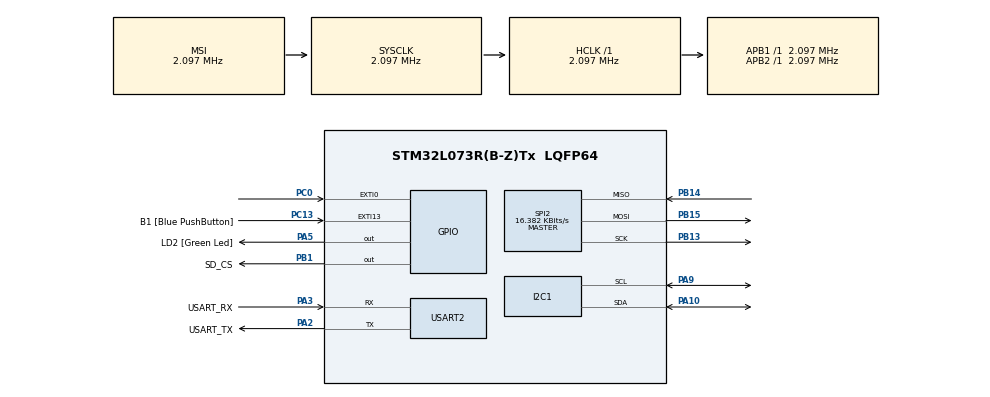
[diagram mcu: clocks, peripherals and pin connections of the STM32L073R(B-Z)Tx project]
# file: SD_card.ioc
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I2C1.Timing=0x00000608
Mcu.Family=STM32L0
Mcu.Name=STM32L073R(B-Z)Tx
Mcu.Package=LQFP64
NVIC.EXTI0_1_IRQn=true\:0\:0\:false\:false\:true\:true\:true\:true
NVIC.TIM6_DAC_IRQn=true\:3\:0\:false\:false\:true\:false\:true\:true
NVIC.TimeBase=TIM6_DAC_IRQn
NVIC.TimeBaseIP=TIM6
PA10.Mode=I2C
PA10.Signal=I2C1_SDA
PA13.GPIO_Label=TMS
PA13.Mode=Serial_Wire
PA13.Signal=SYS_SWDIO
PA14.GPIO_Label=TCK
PA14.Mode=Serial_Wire
PA14.Signal=SYS_SWCLK
PA2.GPIO_Label=USART_TX
PA2.Mode=Asynchronous
PA2.Signal=USART2_TX
PA3.GPIO_Label=USART_RX
PA3.Mode=Asynchronous
PA3.Signal=USART2_RX
PA5.GPIO_Label=LD2 [Green Led]
PA5.Signal=GPIO_Output
PA9.Mode=I2C
PA9.Signal=I2C1_SCL
PB1.GPIO_Label=SD_CS
PB1.Signal=GPIO_Output
PB13.Mode=Full_Duplex_Master
PB13.Signal=SPI2_SCK
PB14.Mode=Full_Duplex_Master
PB14.Signal=SPI2_MISO
PB15.Mode=Full_Duplex_Master
PB15.Signal=SPI2_MOSI
PC0.Signal=GPXTI0
PC13.GPIO_Label=B1 [Blue PushButton]
PC13.GPIO_ModeDefaultEXTI=GPIO_MODE_IT_FALLING
PC13.Signal=GPXTI13
PC14-OSC32_IN.Mode=LSE-External-Oscillator
PC14-OSC32_IN.Signal=RCC_OSC32_IN
PC15-OSC32_OUT.Mode=LSE-External-Oscillator
PC15-OSC32_OUT.Signal=RCC_OSC32_OUT
PH0-OSC_IN.GPIO_Label=MCO
PH0-OSC_IN.Mode=HSE-External-Clock-Source
PH0-OSC_IN.Signal=RCC_OSC_IN
ProjectManager.HeapSize=0x200
ProjectManager.StackSize=0x400
ProjectManager.TargetToolchain=STM32CubeIDE
RCC.AHBFreq_Value=2097000
RCC.APB1Freq_Value=2097000
RCC.APB1TimFreq_Value=2097000
RCC.APB2Freq_Value=2097000
RCC.APB2TimFreq_Value=2097000
RCC.HSE_VALUE=8000000
RCC.HSI16_VALUE=16000000
RCC.HSI48_VALUE=48000000
RCC.HSI_VALUE=16000000
RCC.MSI_VALUE=2097000
RCC.SYSCLKFreq_VALUE=2097000
RCC.VCOOutputFreq_Value=48000000
SPI2.BaudRatePrescaler=SPI_BAUDRATEPRESCALER_128
SPI2.CalculateBaudRate=16.382 KBits/s
SPI2.Direction=SPI_DIRECTION_2LINES
SPI2.Mode=SPI_MODE_MASTER
SPI2.VirtualType=VM_MASTER
USART2.VirtualMode-Asynchronous=VM_ASYNC
VP_FATFS_VS_Generic.Mode=User_defined
VP_SYS_VS_tim6.Mode=TIM6
board=NUCLEO-L073RZ

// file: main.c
/* USER CODE BEGIN Header */
/**
  ******************************************************************************
  * @file           : main.c
  * @brief          : Main program body
  ******************************************************************************
  * @attention
  *
  * Copyright (c) 2024 STMicroelectronics.
  * All rights reserved.
  *
  * This software is licensed under terms that can be found in the LICENSE file
  * in the root directory of this software component.
  * If no LICENSE file comes with this software, it is provided AS-IS.
  *
  ******************************************************************************
  */
/* USER CODE END Header */
#include "main.h"
#include "fatfs.h"

/* USER CODE BEGIN Includes */
#include <stdio.h>
#include <string.h>
#include <stdarg.h> //for va_list var arg functions
#include "max30102_for_stm32_hal.h"
#include "max_processing.h"
/* USER CODE END Includes */

I2C_HandleTypeDef hi2c1;

SPI_HandleTypeDef hspi2;

UART_HandleTypeDef huart2;

/* USER CODE BEGIN PV */

// printf() function
int __io_putchar(int ch)
{
  uint8_t temp = ch;
  HAL_UART_Transmit(&huart2, &temp, 1, HAL_MAX_DELAY);
  return ch;
}

// MAX30102 object
max30102_t max30102;

/* USER CODE END PV */

void SystemClock_Config(void);
static void MX_GPIO_Init(void);
static void MX_USART2_UART_Init(void);
static void MX_SPI2_Init(void);
static void MX_I2C1_Init(void);
/* USER CODE BEGIN PFP */
void myprintf(const char *fmt, ...);
/* USER CODE END PFP */

/* USER CODE BEGIN 0 */
void myprintf(const char *fmt, ...) {
  static char buffer[256];
  va_list args;
  va_start(args, fmt);
  vsnprintf(buffer, sizeof(buffer), fmt, args);
  va_end(args);

  int len = strlen(buffer);
  HAL_UART_Transmit(&huart2, (uint8_t*)buffer, len, -1);

}
/* USER CODE END 0 */

int main(void)
{

  /* MCU Configuration--------------------------------------------------------*/

  /* Reset of all peripherals, Initializes the Flash interface and the Systick. */
  HAL_Init();

  /* Configure the system clock */
  SystemClock_Config();

  /* Initialize all configured peripherals */
  MX_GPIO_Init();
  MX_USART2_UART_Init();
  MX_SPI2_Init();
  MX_FATFS_Init();
  MX_I2C1_Init();
  /* USER CODE BEGIN 2 */
  FATFS FatFs; 	//Fatfs handle
  FIL fil; 		//File handle
  FRESULT fres; //Result after operations

  HAL_Delay(1000);

	//Open the file system
  	f_mount(NULL, "", 0);
  	HAL_Delay(10000);
	fres = f_mount(&FatFs, "", 1); //1=mount now
	if (fres != FR_OK) {
	myprintf("f_mount error (%i)\r\n", fres);
	while(1);
	}

    //Let's get some statistics from the SD card
    DWORD free_clusters, free_sectors, total_sectors;

    FATFS* getFreeFs;

    fres = f_getfree("", &free_clusters, &getFreeFs);
    if (fres != FR_OK) {
  	myprintf("f_getfree error (%i)\r\n", fres);
  	while(1);
    }

    //Formula comes from ChaN's documentation
    total_sectors = (getFreeFs->n_fatent - 2) * getFreeFs->csize;
    free_sectors = free_clusters * getFreeFs->csize;

    myprintf("SD card stats:\r\n%10lu KiB total drive space.\r\n%10lu KiB available.\r\n", total_sectors / 2, free_sectors / 2);

    //Now let's try to open file "test.txt"
    fres = f_open(&fil, "test.txt", FA_READ);
    if (fres != FR_OK) {
  	myprintf("f_open error (%i)\r\n");
  	while(1);
    }
    myprintf("I was able to open 'hello.txt' for reading!\r\n");

    //Read 30 bytes from "test.txt" on the SD card
    BYTE readBuf[30];

    //We can either use f_read OR f_gets to get data out of files
    //f_gets is a wrapper on f_read that does some string formatting for us
    TCHAR* rres = f_gets((TCHAR*)readBuf, 30, &fil);
    if(rres != 0) {
  	myprintf("Read string from 'test.txt' contents: %s\r\n", readBuf);
    } else {
  	myprintf("f_gets error (%i)\r\n", fres);
    }

    //Be a tidy kiwi - don't forget to close your file!
    f_close(&fil);

    //Now let's try and write a file "write.txt"
    fres = f_open(&fil, "write.txt", FA_WRITE | FA_OPEN_ALWAYS | FA_CREATE_ALWAYS);
    if(fres == FR_OK) {
  	myprintf("I was able to open 'write.txt' for writing\r\n");
    } else {
  	myprintf("f_open error (%i)\r\n", fres);
    }

    //Copy in a string
    strncpy((char*)readBuf, "a new file is made!", 19);
    UINT bytesWrote;
    fres = f_write(&fil, readBuf, 19, &bytesWrote);
    if(fres == FR_OK) {
  	myprintf("Wrote %i bytes to 'write.txt'!\r\n", bytesWrote);
    } else {
  	myprintf("f_write error (%i)\r\n");
    }

    //Be a tidy kiwi - don't forget to close your file!
    f_close(&fil);

    // Initiation Sensor
    	max30102_init(&max30102, &hi2c1);
    	max30102_reset(&max30102);
    	max30102_clear_fifo(&max30102);
    	max30102_set_fifo_config(&max30102, max30102_smp_ave_8, 1, 7);

    	// Sensor settings
    	max30102_set_led_pulse_width(&max30102, max30102_pw_16_bit);
    	max30102_set_adc_resolution(&max30102, max30102_adc_2048);
    	max30102_set_sampling_rate(&max30102, max30102_sr_800);
    	max30102_set_led_current_1(&max30102, 6.2);
    	max30102_set_led_current_2(&max30102, 6.2);

    	// Enter SpO2 mode
    	max30102_set_mode(&max30102, max30102_spo2);
    	max30102_set_a_full(&max30102, 1);

    	// Initiate 1 temperature measurement
    	max30102_set_die_temp_en(&max30102, 1);
    	max30102_set_die_temp_rdy(&max30102, 1);

    	uint8_t en_reg[2] = {0};
    	max30102_read(&max30102, 0x00, en_reg, 1);
    	initialize_filters_1();
    	initialize_filters_2();
	// Initiation Sensor End

  /* USER CODE END 2 */

  /* Infinite loop */
  while (1)
  {

    /* USER CODE BEGIN 3 */
	  Max30102Samples samples = max30102_read_fifo(&max30102);
	  uint32_t latest_red_value = samples.red_sample;
	  uint32_t latest_ir_value = samples.ir_sample;
	  char buffer1[100];
	  int len = sprintf(buffer1, "IR Sample: %d, Red Sample: %d\r\n", latest_red_value, latest_ir_value);
	  HAL_UART_Transmit(&huart2, (uint8_t *)buffer1, len, HAL_MAX_DELAY);

	 // Part 1: Measure Heart Rate, Write and Read
//		int heart_rate = calculate_heart_rate(latest_red_value);
//		if (heart_rate != -1) {
//		  fres = f_open(&fil, "test.txt", FA_WRITE | FA_OPEN_APPEND);
//		  if (fres == FR_OK) {
//			len = sprintf(buffer1, "Heart Rate (bpm): %d\r\n", heart_rate);
//			f_write(&fil, buffer1, len, &bytesWrote);
//			f_close(&fil);
//		  }
//		  fres = f_open(&fil, "test.txt", FA_READ);
//		  if (fres == FR_OK) {
//			TCHAR readBuf[30];
//			f_gets(readBuf, 30, &fil);
//			myprintf("Read Heart Rate: %s\r\n", readBuf);
//			f_close(&fil);
//		  }
//		}

	 // Part 2: Measure Advanced Heartbeat Detection, Write and Read
//	  int adv_heart_rate = advanced_heartbeat_detection(latest_red_value);
//	  if (adv_heart_rate != -1) {
//		fres = f_open(&fil, "test.txt", FA_WRITE | FA_OPEN_APPEND);
//		if (fres == FR_OK) {
//		  len = sprintf(buffer1, "Advanced Heart Rate (avg, bpm): %d\r\n", adv_heart_rate);
//		  f_write(&fil, buffer1, len, &bytesWrote);
//		  f_close(&fil);
//		}
//		fres = f_open(&fil, "test.txt", FA_READ);
//		if (fres == FR_OK) {
//		  TCHAR readBuf[30];
//		  f_gets(readBuf, 30, &fil);
//		  myprintf("Read Advanced Heart Rate: %s\r\n", readBuf);
//		  f_close(&fil);
//		}
//	  }

	  // Part 3: Measure SPO2, Write and Read
//	    float spo2 = calculate_spo2(latest_red_value, latest_ir_value);
//	    if (spo2 != -1) {
//	      fres = f_open(&fil, "test.txt", FA_WRITE | FA_OPEN_APPEND);
//	      if (fres == FR_OK) {
//	        len = sprintf(buffer1, "SpO2 (avg, %%): %.2f\r\n", spo2);
//	        f_write(&fil, buffer1, len, &bytesWrote);
//	        f_close(&fil);
//	      }
//	      fres = f_open(&fil, "test.txt", FA_READ);
//	      if (fres == FR_OK) {
//	        TCHAR readBuf[30];
//	        f_gets(readBuf, 30, &fil);
//	        myprintf("Read SPO2: %s\r\n", readBuf);
//	        f_close(&fil);
//	      }
//	    }

	// Part 4: Temperature Interrupt, Write and Read
//	if (max30102_has_interrupt(&max30102)) {
//		float temperature = max30102_interrupt_handler(&max30102);
//		if (temperature != -1) {
//		  fres = f_open(&fil, "test.txt", FA_WRITE | FA_OPEN_APPEND);
//		  if (fres == FR_OK) {
//			len = sprintf(buffer1, "Temperature: %.2f °C\r\n", temperature);
//			f_write(&fil, buffer1, len, &bytesWrote);
//			f_close(&fil);
//		  }
//		  fres = f_open(&fil, "test.txt", FA_READ);
//		  if (fres == FR_OK) {
//			TCHAR readBuf[30];
//			f_gets(readBuf, 30, &fil);
//			myprintf("Read Temperature: %s\r\n", readBuf);
//			f_close(&fil);
//		  }
//		}

  }
  //We're done, so de-mount the drive
  f_mount(NULL, "", 0);
  /* USER CODE END 3 */
}

void SystemClock_Config(void)
{
  RCC_OscInitTypeDef RCC_OscInitStruct = {0};
  RCC_ClkInitTypeDef RCC_ClkInitStruct = {0};
  RCC_PeriphCLKInitTypeDef PeriphClkInit = {0};

  /** Configure the main internal regulator output voltage
  */
  __HAL_PWR_VOLTAGESCALING_CONFIG(PWR_REGULATOR_VOLTAGE_SCALE1);

  /** Initializes the RCC Oscillators according to the specified parameters
  * in the RCC_OscInitTypeDef structure.
  */
  RCC_OscInitStruct.OscillatorType = RCC_OSCILLATORTYPE_MSI;
  RCC_OscInitStruct.MSIState = RCC_MSI_ON;
  RCC_OscInitStruct.MSICalibrationValue = 0;
  RCC_OscInitStruct.MSIClockRange = RCC_MSIRANGE_5;
  RCC_OscInitStruct.PLL.PLLState = RCC_PLL_NONE;
  if (HAL_RCC_OscConfig(&RCC_OscInitStruct) != HAL_OK)
  {
    Error_Handler();
  }

  /** Initializes the CPU, AHB and APB buses clocks
  */
  RCC_ClkInitStruct.ClockType = RCC_CLOCKTYPE_HCLK|RCC_CLOCKTYPE_SYSCLK
                              |RCC_CLOCKTYPE_PCLK1|RCC_CLOCKTYPE_PCLK2;
  RCC_ClkInitStruct.SYSCLKSource = RCC_SYSCLKSOURCE_MSI;
  RCC_ClkInitStruct.AHBCLKDivider = RCC_SYSCLK_DIV1;
  RCC_ClkInitStruct.APB1CLKDivider = RCC_HCLK_DIV1;
  RCC_ClkInitStruct.APB2CLKDivider = RCC_HCLK_DIV1;

  if (HAL_RCC_ClockConfig(&RCC_ClkInitStruct, FLASH_LATENCY_0) != HAL_OK)
  {
    Error_Handler();
  }
  PeriphClkInit.PeriphClockSelection = RCC_PERIPHCLK_USART2|RCC_PERIPHCLK_I2C1;
  PeriphClkInit.Usart2ClockSelection = RCC_USART2CLKSOURCE_PCLK1;
  PeriphClkInit.I2c1ClockSelection = RCC_I2C1CLKSOURCE_PCLK1;
  if (HAL_RCCEx_PeriphCLKConfig(&PeriphClkInit) != HAL_OK)
  {
    Error_Handler();
  }
}

static void MX_I2C1_Init(void)
{

  hi2c1.Instance = I2C1;
  hi2c1.Init.Timing = 0x00000608;
  hi2c1.Init.OwnAddress1 = 0;
  hi2c1.Init.AddressingMode = I2C_ADDRESSINGMODE_7BIT;
  hi2c1.Init.DualAddressMode = I2C_DUALADDRESS_DISABLE;
  hi2c1.Init.OwnAddress2 = 0;
  hi2c1.Init.OwnAddress2Masks = I2C_OA2_NOMASK;
  hi2c1.Init.GeneralCallMode = I2C_GENERALCALL_DISABLE;
  hi2c1.Init.NoStretchMode = I2C_NOSTRETCH_DISABLE;
  if (HAL_I2C_Init(&hi2c1) != HAL_OK)
  {
    Error_Handler();
  }

  /** Configure Analogue filter
  */
  if (HAL_I2CEx_ConfigAnalogFilter(&hi2c1, I2C_ANALOGFILTER_ENABLE) != HAL_OK)
  {
    Error_Handler();
  }

  /** Configure Digital filter
  */
  if (HAL_I2CEx_ConfigDigitalFilter(&hi2c1, 0) != HAL_OK)
  {
    Error_Handler();
  }

}

static void MX_SPI2_Init(void)
{

  /* SPI2 parameter configuration*/
  hspi2.Instance = SPI2;
  hspi2.Init.Mode = SPI_MODE_MASTER;
  hspi2.Init.Direction = SPI_DIRECTION_2LINES;
  hspi2.Init.DataSize = SPI_DATASIZE_8BIT;
  hspi2.Init.CLKPolarity = SPI_POLARITY_LOW;
  hspi2.Init.CLKPhase = SPI_PHASE_1EDGE;
  hspi2.Init.NSS = SPI_NSS_SOFT;
  hspi2.Init.BaudRatePrescaler = SPI_BAUDRATEPRESCALER_128;
  hspi2.Init.FirstBit = SPI_FIRSTBIT_MSB;
  hspi2.Init.TIMode = SPI_TIMODE_DISABLE;
  hspi2.Init.CRCCalculation = SPI_CRCCALCULATION_DISABLE;
  hspi2.Init.CRCPolynomial = 7;
  if (HAL_SPI_Init(&hspi2) != HAL_OK)
  {
    Error_Handler();
  }

}

static void MX_USART2_UART_Init(void)
{

  huart2.Instance = USART2;
  huart2.Init.BaudRate = 115200;
  huart2.Init.WordLength = UART_WORDLENGTH_8B;
  huart2.Init.StopBits = UART_STOPBITS_1;
  huart2.Init.Parity = UART_PARITY_NONE;
  huart2.Init.Mode = UART_MODE_TX_RX;
  huart2.Init.HwFlowCtl = UART_HWCONTROL_NONE;
  huart2.Init.OverSampling = UART_OVERSAMPLING_16;
  huart2.Init.OneBitSampling = UART_ONE_BIT_SAMPLE_DISABLE;
  huart2.AdvancedInit.AdvFeatureInit = UART_ADVFEATURE_NO_INIT;
  if (HAL_UART_Init(&huart2) != HAL_OK)
  {
    Error_Handler();
  }

}

static void MX_GPIO_Init(void)
{
  GPIO_InitTypeDef GPIO_InitStruct = {0};

  /* GPIO Ports Clock Enable */
  __HAL_RCC_GPIOC_CLK_ENABLE();
  __HAL_RCC_GPIOH_CLK_ENABLE();
  __HAL_RCC_GPIOA_CLK_ENABLE();
  __HAL_RCC_GPIOB_CLK_ENABLE();

  /*Configure GPIO pin Output Level */
  HAL_GPIO_WritePin(LD2_GPIO_Port, LD2_Pin, GPIO_PIN_RESET);

  /*Configure GPIO pin Output Level */
  HAL_GPIO_WritePin(SD_CS_GPIO_Port, SD_CS_Pin, GPIO_PIN_RESET);

  /*Configure GPIO pin : B1_Pin */
  GPIO_InitStruct.Pin = B1_Pin;
  GPIO_InitStruct.Mode = GPIO_MODE_IT_FALLING;
  GPIO_InitStruct.Pull = GPIO_NOPULL;
  HAL_GPIO_Init(B1_GPIO_Port, &GPIO_InitStruct);

  /*Configure GPIO pin : PC0 */
  GPIO_InitStruct.Pin = GPIO_PIN_0;
  GPIO_InitStruct.Mode = GPIO_MODE_IT_RISING;
  GPIO_InitStruct.Pull = GPIO_NOPULL;
  HAL_GPIO_Init(GPIOC, &GPIO_InitStruct);

  /*Configure GPIO pin : LD2_Pin */
  GPIO_InitStruct.Pin = LD2_Pin;
  GPIO_InitStruct.Mode = GPIO_MODE_OUTPUT_PP;
  GPIO_InitStruct.Pull = GPIO_NOPULL;
  GPIO_InitStruct.Speed = GPIO_SPEED_FREQ_LOW;
  HAL_GPIO_Init(LD2_GPIO_Port, &GPIO_InitStruct);

  /*Configure GPIO pin : SD_CS_Pin */
  GPIO_InitStruct.Pin = SD_CS_Pin;
  GPIO_InitStruct.Mode = GPIO_MODE_OUTPUT_PP;
  GPIO_InitStruct.Pull = GPIO_NOPULL;
  GPIO_InitStruct.Speed = GPIO_SPEED_FREQ_LOW;
  HAL_GPIO_Init(SD_CS_GPIO_Port, &GPIO_InitStruct);

  /* EXTI interrupt init*/
  HAL_NVIC_SetPriority(EXTI0_1_IRQn, 0, 0);
  HAL_NVIC_EnableIRQ(EXTI0_1_IRQn);

}

void HAL_TIM_PeriodElapsedCallback(TIM_HandleTypeDef *htim)
{
  if (htim->Instance == TIM6) {
    HAL_IncTick();
  }
}

void Error_Handler(void)
{
  __disable_irq();
  while (1)
  {
  }
}
